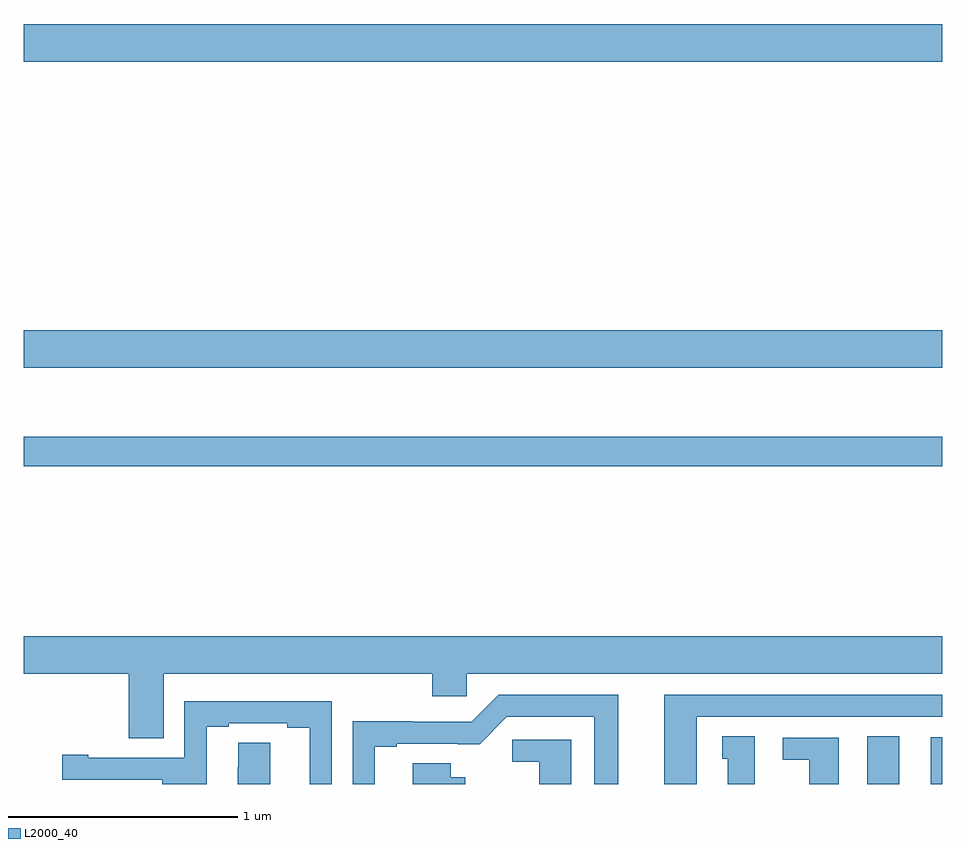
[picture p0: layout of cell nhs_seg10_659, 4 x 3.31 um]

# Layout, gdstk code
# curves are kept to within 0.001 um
import gdstk
lib = gdstk.Library(unit=1e-6, precision=1e-09)
def R(c, l, rs):  # rectangles x0, y0, x1, y1
    for r in rs: c.add(gdstk.rectangle(r[:2], r[2:], *l))
def P(c, l, *ps):  # polygons
    for p in ps: c.add(gdstk.Polygon(p, *l))
L2000_40 = (2000, 40)

nhs_seg10_659 = lib.new_cell('nhs_seg10_659')
R(nhs_seg10_659, L2000_40, [(146.672,1302.5,146.812,1302.707), (146.948,1302.5,147,1302.703), (143,1303.882,147,1304.011), (143,1304.312,147,1304.476), (143,1305.644,147,1305.808)])
P(nhs_seg10_659, L2000_40, [(143.611,1302.98),(144.779,1302.98),(144.779,1302.882),(144.93,1302.882),(144.93,1302.98),(147,1302.98),(147,1303.144),(143,1303.144),(143,1302.98),(143.459,1302.98),(143.459,1302.7),(143.611,1302.7)],
  [(145.93,1302.792),(147,1302.792),(147,1302.888),(145.79,1302.888),(145.79,1302.5),(145.93,1302.5)],
  [(144.529,1302.663),(144.625,1302.663),(144.625,1302.675),(144.986,1302.674),(145.104,1302.792),(145.484,1302.792),(145.484,1302.5),(145.588,1302.5),(145.588,1302.888),(145.068,1302.888),(144.951,1302.771),(144.695,1302.771),(144.695,1302.773),(144.432,1302.773),(144.432,1302.5),(144.529,1302.5)],
  [(143.797,1302.75),(143.893,1302.75),(143.893,1302.765),(144.149,1302.765),(144.149,1302.745),(144.245,1302.745),(144.245,1302.5),(144.342,1302.5),(144.342,1302.861),(143.7,1302.861),(143.7,1302.615),(143.281,1302.615),(143.281,1302.628),(143.169,1302.628),(143.169,1302.519),(143.604,1302.519),(143.604,1302.5),(143.797,1302.5)],
  [(146.182,1302.707),(146.042,1302.707),(146.042,1302.609),(146.066,1302.609),(146.066,1302.5),(146.182,1302.5)],
  [(146.548,1302.702),(146.304,1302.702),(146.304,1302.606),(146.42,1302.606),(146.42,1302.5),(146.548,1302.5)],
  [(145.384,1302.693),(145.128,1302.693),(145.128,1302.596),(145.244,1302.596),(145.244,1302.5),(145.384,1302.5)],
  [(144.073,1302.68),(143.934,1302.68),(143.934,1302.572),(143.933,1302.572),(143.933,1302.5),(144.073,1302.5)],
  [(144.922,1302.529),(144.859,1302.529),(144.859,1302.59),(144.695,1302.59),(144.695,1302.5),(144.922,1302.5)])

lib.write_gds('nhs_seg10_659.gds')
